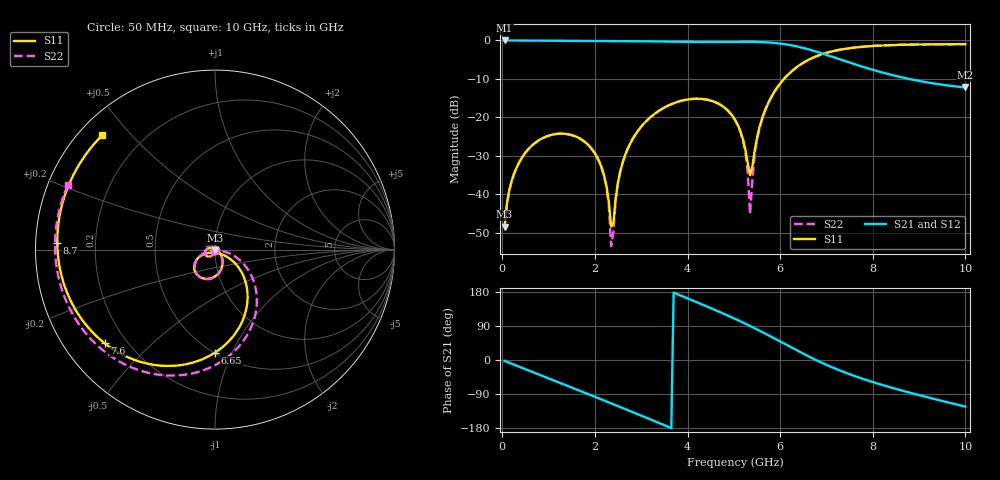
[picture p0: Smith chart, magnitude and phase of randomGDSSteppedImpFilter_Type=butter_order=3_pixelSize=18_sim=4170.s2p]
! freq	dB(S11)	phase(S11)	dB(S12)	phase(S12)
!  dB(S21)	phase(S21)	dB(S22)	phase(S22)
!S-par simulation data
#  GHz  S  DB  R 50
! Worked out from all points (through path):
!   200 points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, 50 MHz to 10 GHz, reference 50 ohm
!   highest |S21| = 0.00 dB at 50 MHz (marker M1); lowest = -12.2 dB at 10 GHz (marker M2)
!   group delay of S21, straight-line fit = 143 ps
!   lowest |S11| = -48.4 dB at 50 MHz (marker M3), VSWR 1.01, Z = 50 - j0.38 ohm
!   |S11| at or under -10 dB: start of sweep to 6.084 GHz
!   |S22| runs from -53.5 to -1.0 dB; largest |S21 - S12| = 0
!   S11 on the Smith chart (normalised r, x): 50 MHz: 1.00, -0.01; 6.65 GHz: 0.50, -0.86; 7.6 GHz: 0.12, -0.36; 8.7 GHz: 0.06, +0.02; 10 GHz: 0.07, +0.42
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0.05  -48.39 -91.0  -0.00 -2.5  -0.00 -2.5  -48.39 -91.0
0.2  -36.63 -98.7  -0.02 -9.8  -0.02 -9.8  -36.63 -98.4
0.55  -28.43 -117.8  -0.04 -26.7  -0.04 -26.7  -28.43 -117.0
1.75  -26.07 -178.6  -0.10 -84.8  -0.10 -84.8  -26.11 -175.2
2.2  -35.19 152.5  -0.12 -106.9  -0.12 -106.9  -35.41 162.4
2.3  -41.93 135.4  -0.13 -111.8  -0.13 -111.8  -42.79 156.3
2.35  -48.38 101.2  -0.13 -114.3  -0.13 -114.3  -53.47 147.0
2.5  -36.82 -21.0  -0.14 -121.8  -0.14 -121.8  -36.86 -30.4
2.65  -29.91 -35.1  -0.15 -129.2  -0.15 -129.2  -29.88 -38.3
3.4  -18.15 -76.8  -0.28 -166.9  -0.28 -166.9  -18.13 -75.7
4.4  -15.35 -127.3  -0.42 142.2  -0.42 142.2  -15.35 -125.1
5.05  -21.14 -156.2  -0.38 107.3  -0.38 107.3  -21.24 -157.6
5.25  -28.41 -151.6  -0.37 95.8  -0.37 95.8  -29.27 -163.9
5.35  -35.02 -102.6  -0.38 89.9  -0.38 89.9  -45.12 -115.1
5.45  -28.66 -39.6  -0.39 83.9  -0.39 83.9  -29.73 -12.0
5.65  -18.93 -32.5  -0.46 71.5  -0.46 71.5  -19.02 -18.1
6.65  -4.82 -90.0  -2.44 7.2  -2.44 7.2  -4.79 -79.1
6.7  -4.54 -93.0  -2.61 4.2  -2.61 4.2  -4.51 -82.0
7.6  -1.87 -139.7  -6.15 -41.9  -6.15 -41.9  -1.84 -126.9
8.35  -1.24 -170.0  -8.79 -71.1  -8.79 -71.1  -1.21 -154.9
8.7  -1.11 177.4  -9.79 -83.0  -9.79 -83.0  -1.09 -166.2
10  -0.97 134.6  -12.22 -123.1  -12.22 -123.1  -0.96 156.4
